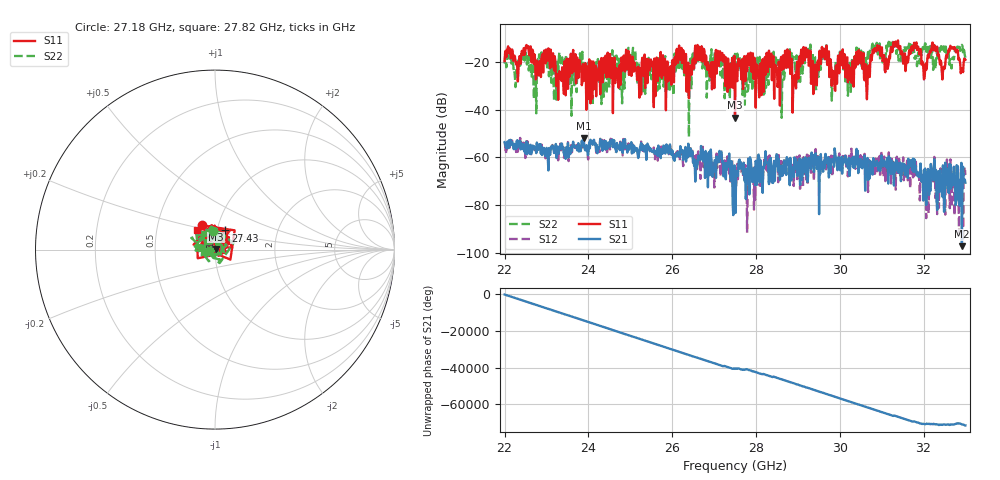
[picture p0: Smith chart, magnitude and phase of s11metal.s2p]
!Keysight Technologies,N5224B,MY57181201,A.12.70.07
!Date: Friday, July 15, 2022 16:12:59
!Correction: S11(Full 2 Port(1,2))
!S21(Full 2 Port(1,2))
!S12(Full 2 Port(1,2))
!S22(Full 2 Port(1,2))
!S2P File: Measurements: S11, S21, S12, S22:
# Hz S  dB  R 50
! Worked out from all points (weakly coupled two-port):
!   801 points, 22 GHz to 33 GHz, reference 50 ohm
!   highest |S21| = -51.98 dB at 23.88 GHz (marker M1); lowest = -97.3 dB at 32.92 GHz (marker M2)
!   lowest |S11| = -43.3 dB at 27.5 GHz (marker M3), VSWR 1.01, Z = 50.6 + j0.369 ohm
!   |S11| at or under -10 dB: start of sweep to end of sweep
!   |S22| runs from -51.4 to -11.6 dB; largest |S21 - S12| = 0.00098
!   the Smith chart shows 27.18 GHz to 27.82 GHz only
!   S11 on the Smith chart (normalised r, x): 27.18 GHz: 0.84, +0.23; 27.43 GHz: 1.10, +0.24; 27.82 GHz: 0.80, +0.18
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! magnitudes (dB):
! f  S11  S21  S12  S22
! 22 GHz  -19.7  -53.7  -53.9  -20.7
! 23.84 GHz  -29.8  -53.1  -54.5  -16.5
! 23.88 GHz  -21.8  -52.0  -52.2  -22.1
! 25.67 GHz  -21.0  -55.1  -56.0  -17.9
! 27.18 GHz  -16.3  -60.2  -61.0  -19.5
! 27.43 GHz  -18.3  -66.6  -61.3  -27.9
! 27.5 GHz  -43.3  -68.6  -66.9  -16.7
! 27.82 GHz  -16.5  -60.7  -60.2  -31.4
! 29.19 GHz  -14.1  -60.3  -63.8  -14.1
! 29.34 GHz  -19.8  -62.8  -62.2  -18.2
! 29.63 GHz  -14.7  -61.3  -61.4  -14.3
! 29.85 GHz  -24.0  -61.0  -61.4  -27.3
! 30.02 GHz  -15.9  -65.5  -64.8  -15.7
! 30.22 GHz  -21.7  -60.3  -59.4  -23.6
! 31.17 GHz  -20.2  -59.7  -58.0  -11.6
! 31.82 GHz  -12.5  -63.9  -61.9  -17.6
! 32.02 GHz  -26.8  -68.2  -71.7  -13.7
! 32.26 GHz  -12.9  -60.9  -59.9  -18.9
! 32.46 GHz  -24.2  -63.4  -69.3  -13.9
! 32.7 GHz  -13.9  -71.8  -69.2  -18.1
! 32.92 GHz  -22.7  -97.3  -69.5  -12.9
! 33 GHz  -19.1  -70.7  -67.4  -18.2
